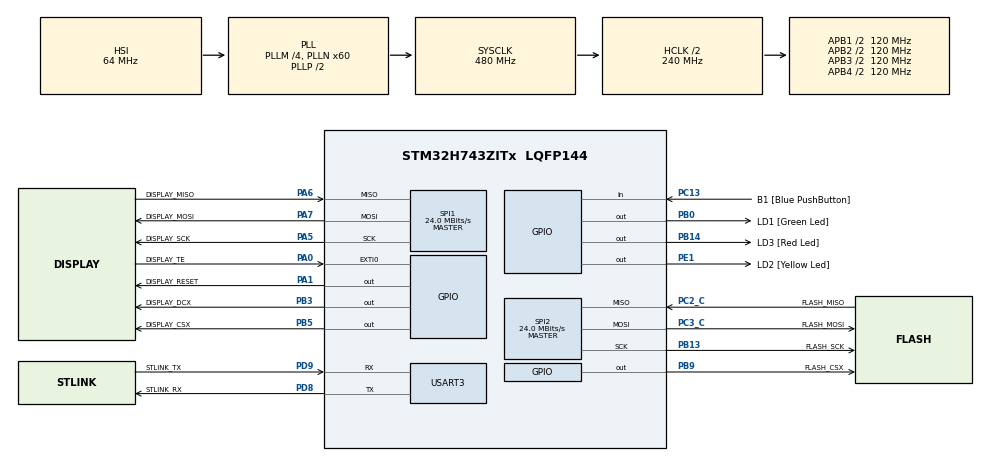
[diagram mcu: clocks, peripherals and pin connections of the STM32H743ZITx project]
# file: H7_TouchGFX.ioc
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Dma.Request0=SPI1_TX
Dma.Request1=SPI2_RX
Dma.Request2=SPI2_TX
Dma.SPI1_TX.0.Direction=DMA_MEMORY_TO_PERIPH
Dma.SPI1_TX.0.EventEnable=DISABLE
Dma.SPI1_TX.0.FIFOMode=DMA_FIFOMODE_DISABLE
Dma.SPI1_TX.0.Instance=DMA1_Stream0
Dma.SPI1_TX.0.MemDataAlignment=DMA_MDATAALIGN_HALFWORD
Dma.SPI1_TX.0.MemInc=DMA_MINC_ENABLE
Dma.SPI1_TX.0.Mode=DMA_NORMAL
Dma.SPI1_TX.0.PeriphDataAlignment=DMA_PDATAALIGN_HALFWORD
Dma.SPI1_TX.0.PeriphInc=DMA_PINC_DISABLE
Dma.SPI1_TX.0.Polarity=HAL_DMAMUX_REQ_GEN_RISING
Dma.SPI1_TX.0.Priority=DMA_PRIORITY_LOW
Dma.SPI1_TX.0.RequestNumber=1
Dma.SPI1_TX.0.SignalID=NONE
Dma.SPI1_TX.0.SyncEnable=DISABLE
Dma.SPI1_TX.0.SyncPolarity=HAL_DMAMUX_SYNC_NO_EVENT
Dma.SPI1_TX.0.SyncRequestNumber=1
Dma.SPI1_TX.0.SyncSignalID=NONE
Dma.SPI2_RX.1.Direction=DMA_PERIPH_TO_MEMORY
Dma.SPI2_RX.1.EventEnable=DISABLE
Dma.SPI2_RX.1.FIFOMode=DMA_FIFOMODE_DISABLE
Dma.SPI2_RX.1.Instance=DMA1_Stream1
Dma.SPI2_RX.1.MemDataAlignment=DMA_MDATAALIGN_BYTE
Dma.SPI2_RX.1.MemInc=DMA_MINC_ENABLE
Dma.SPI2_RX.1.Mode=DMA_NORMAL
Dma.SPI2_RX.1.PeriphDataAlignment=DMA_PDATAALIGN_BYTE
Dma.SPI2_RX.1.PeriphInc=DMA_PINC_DISABLE
Dma.SPI2_RX.1.Polarity=HAL_DMAMUX_REQ_GEN_RISING
Dma.SPI2_RX.1.Priority=DMA_PRIORITY_LOW
Dma.SPI2_RX.1.RequestNumber=1
Dma.SPI2_RX.1.SignalID=NONE
Dma.SPI2_RX.1.SyncEnable=DISABLE
Dma.SPI2_RX.1.SyncPolarity=HAL_DMAMUX_SYNC_NO_EVENT
Dma.SPI2_RX.1.SyncRequestNumber=1
Dma.SPI2_RX.1.SyncSignalID=NONE
Dma.SPI2_TX.2.Direction=DMA_MEMORY_TO_PERIPH
Dma.SPI2_TX.2.EventEnable=DISABLE
Dma.SPI2_TX.2.FIFOMode=DMA_FIFOMODE_DISABLE
Dma.SPI2_TX.2.Instance=DMA1_Stream2
Dma.SPI2_TX.2.MemDataAlignment=DMA_MDATAALIGN_BYTE
Dma.SPI2_TX.2.MemInc=DMA_MINC_ENABLE
Dma.SPI2_TX.2.Mode=DMA_NORMAL
Dma.SPI2_TX.2.PeriphDataAlignment=DMA_PDATAALIGN_BYTE
Dma.SPI2_TX.2.PeriphInc=DMA_PINC_DISABLE
Dma.SPI2_TX.2.Polarity=HAL_DMAMUX_REQ_GEN_RISING
Dma.SPI2_TX.2.Priority=DMA_PRIORITY_LOW
Dma.SPI2_TX.2.RequestNumber=1
Dma.SPI2_TX.2.SignalID=NONE
Dma.SPI2_TX.2.SyncEnable=DISABLE
Dma.SPI2_TX.2.SyncPolarity=HAL_DMAMUX_SYNC_NO_EVENT
Dma.SPI2_TX.2.SyncRequestNumber=1
Dma.SPI2_TX.2.SyncSignalID=NONE
Mcu.Family=STM32H7
Mcu.Name=STM32H743ZITx
Mcu.Package=LQFP144
NVIC.DMA1_Stream0_IRQn=true\:0\:0\:false\:false\:true\:false\:true\:true
NVIC.DMA1_Stream1_IRQn=true\:0\:0\:false\:false\:true\:false\:true\:true
NVIC.DMA1_Stream2_IRQn=true\:0\:0\:false\:false\:true\:false\:true\:true
NVIC.EXTI0_IRQn=true\:0\:0\:false\:false\:true\:true\:true\:true
NVIC.PriorityGroup=NVIC_PRIORITYGROUP_4
NVIC.SPI1_IRQn=true\:0\:0\:false\:false\:true\:true\:true\:true
NVIC.SPI2_IRQn=true\:0\:0\:false\:false\:true\:true\:true\:true
NVIC.TIM6_DAC_IRQn=true\:0\:0\:false\:false\:true\:true\:true\:true
PA0.GPIO_Label=DISPLAY_TE
PA0.Signal=GPXTI0
PA1.GPIO_Label=DISPLAY_RESET
PA1.GPIO_PuPd=GPIO_PULLUP
PA1.GPIO_Speed=GPIO_SPEED_FREQ_VERY_HIGH
PA1.Signal=GPIO_Output
PA13\ (JTMS/SWDIO).Mode=Serial_Wire
PA13\ (JTMS/SWDIO).Signal=DEBUG_JTMS-SWDIO
PA14\ (JTCK/SWCLK).Mode=Serial_Wire
PA14\ (JTCK/SWCLK).Signal=DEBUG_JTCK-SWCLK
PA5.GPIO_Label=DISPLAY_SCK
PA5.GPIO_PuPd=GPIO_PULLDOWN
PA5.GPIO_Speed=GPIO_SPEED_FREQ_VERY_HIGH
PA5.Mode=Full_Duplex_Master
PA5.Signal=SPI1_SCK
PA6.GPIO_Label=DISPLAY_MISO
PA6.GPIO_Speed=GPIO_SPEED_FREQ_VERY_HIGH
PA6.Mode=Full_Duplex_Master
PA6.Signal=SPI1_MISO
PA7.GPIO_Label=DISPLAY_MOSI
PA7.GPIO_Speed=GPIO_SPEED_FREQ_VERY_HIGH
PA7.Mode=Full_Duplex_Master
PA7.Signal=SPI1_MOSI
PB0.GPIO_Label=LD1 [Green Led]
PB0.GPIO_Speed=GPIO_SPEED_FREQ_VERY_HIGH
PB0.Signal=GPIO_Output
PB13.GPIO_Label=FLASH_SCK
PB13.GPIO_PuPd=GPIO_PULLDOWN
PB13.GPIO_Speed=GPIO_SPEED_FREQ_VERY_HIGH
PB13.Mode=Full_Duplex_Master
PB13.Signal=SPI2_SCK
PB14.GPIO_Label=LD3 [Red Led]
PB14.GPIO_Speed=GPIO_SPEED_FREQ_VERY_HIGH
PB14.Signal=GPIO_Output
PB3\ (JTDO/TRACESWO).GPIO_Label=DISPLAY_DCX
PB3\ (JTDO/TRACESWO).GPIO_PuPd=GPIO_PULLUP
PB3\ (JTDO/TRACESWO).GPIO_Speed=GPIO_SPEED_FREQ_VERY_HIGH
PB3\ (JTDO/TRACESWO).PinState=GPIO_PIN_SET
PB3\ (JTDO/TRACESWO).Signal=GPIO_Output
PB5.GPIO_Label=DISPLAY_CSX
PB5.GPIO_PuPd=GPIO_PULLUP
PB5.GPIO_Speed=GPIO_SPEED_FREQ_VERY_HIGH
PB5.PinState=GPIO_PIN_SET
PB5.Signal=GPIO_Output
PB9.GPIO_FM9=SYSCFG_PMCR_I2C_PB9_FMP
PB9.GPIO_Label=FLASH_CSX
PB9.GPIO_Speed=GPIO_SPEED_FREQ_VERY_HIGH
PB9.PinState=GPIO_PIN_SET
PB9.Signal=GPIO_Output
PC13.GPIO_Label=B1 [Blue PushButton]
PC13.Signal=GPIO_Input
PC14-OSC32_IN\ (OSC32_IN).Mode=LSE-External-Oscillator
PC14-OSC32_IN\ (OSC32_IN).Signal=RCC_OSC32_IN
PC15-OSC32_OUT\ (OSC32_OUT).Mode=LSE-External-Oscillator
PC15-OSC32_OUT\ (OSC32_OUT).Signal=RCC_OSC32_OUT
PC2_C.GPIO_Label=FLASH_MISO
PC2_C.GPIO_PuPd=GPIO_PULLDOWN
PC2_C.GPIO_Speed=GPIO_SPEED_FREQ_VERY_HIGH
PC2_C.Mode=Full_Duplex_Master
PC2_C.Signal=SPI2_MISO
PC3_C.GPIO_Label=FLASH_MOSI
PC3_C.GPIO_PuPd=GPIO_PULLDOWN
PC3_C.GPIO_Speed=GPIO_SPEED_FREQ_VERY_HIGH
PC3_C.Mode=Full_Duplex_Master
PC3_C.Signal=SPI2_MOSI
PD8.GPIO_Label=STLINK_RX
PD8.Mode=Asynchronous
PD8.Signal=USART3_TX
PD9.GPIO_Label=STLINK_TX
PD9.Mode=Asynchronous
PD9.Signal=USART3_RX
PE1.GPIO_Label=LD2 [Yellow Led]
PE1.GPIO_Speed=GPIO_SPEED_FREQ_VERY_HIGH
PE1.Signal=GPIO_Output
PH0-OSC_IN\ (PH0).Mode=HSE-External-Clock-Source
PH0-OSC_IN\ (PH0).Signal=RCC_OSC_IN
PH1-OSC_OUT\ (PH1).Signal=RCC_OSC_OUT
ProjectManager.HeapSize=0x400
ProjectManager.StackSize=0x800
ProjectManager.TargetToolchain=STM32CubeIDE
RCC.ADCFreq_Value=129000000
RCC.APB1Freq_Value=120000000
RCC.APB2Freq_Value=120000000
RCC.APB3Freq_Value=120000000
RCC.APB4Freq_Value=120000000
RCC.CortexFreq_Value=480000000
RCC.D1PPRE=RCC_APB3_DIV2
RCC.D2PPRE1=RCC_APB1_DIV2
RCC.D2PPRE2=RCC_APB2_DIV2
RCC.D3PPRE=RCC_APB4_DIV2
RCC.DIVM1=4
RCC.DIVN1=60
RCC.DIVQ1=5
RCC.HCLKFreq_Value=240000000
RCC.HPRE=RCC_HCLK_DIV2
RCC.HSE_VALUE=8000000
RCC.PLL2FRACN=0
RCC.PLL3FRACN=0
RCC.PLLFRACN=0
RCC.PWR_Regulator_Voltage_Scale=PWR_REGULATOR_VOLTAGE_SCALE0
RCC.ProductRev=revV
RCC.SYSCLKFreq_VALUE=480000000
RCC.SYSCLKSource=RCC_SYSCLKSOURCE_PLLCLK
RCC.USBFreq_Value=192000000
SPI1.BaudRatePrescaler=SPI_BAUDRATEPRESCALER_8
SPI1.CalculateBaudRate=24.0 MBits/s
SPI1.DataSize=SPI_DATASIZE_8BIT
SPI1.Direction=SPI_DIRECTION_2LINES
SPI1.Mode=SPI_MODE_MASTER
SPI1.NSSPMode=SPI_NSS_PULSE_DISABLE
SPI1.VirtualType=VM_MASTER
SPI2.BaudRatePrescaler=SPI_BAUDRATEPRESCALER_8
SPI2.CalculateBaudRate=24.0 MBits/s
SPI2.DataSize=SPI_DATASIZE_8BIT
SPI2.Direction=SPI_DIRECTION_2LINES
SPI2.Mode=SPI_MODE_MASTER
SPI2.NSSPMode=SPI_NSS_PULSE_DISABLE
SPI2.VirtualType=VM_MASTER
STMicroelectronics.X-CUBE-TOUCHGFX.4.20.0.tgfx_buffering_strategy=Partial
STMicroelectronics.X-CUBE-TOUCHGFX.4.20.0.tgfx_custom_height=320
STMicroelectronics.X-CUBE-TOUCHGFX.4.20.0.tgfx_custom_width=240
STMicroelectronics.X-CUBE-TOUCHGFX.4.20.0.tgfx_datareader=Enabled
STMicroelectronics.X-CUBE-TOUCHGFX.4.20.0.tgfx_partialfb_transmit_strategy=Enabled
STMicroelectronics.X-CUBE-TOUCHGFX.4.20.0_IsPackSelfContextualization=true
TIM6.TIM_MasterOutputTrigger=TIM_TRGO_ENABLE
USART3.VirtualMode-Asynchronous=VM_ASYNC
VP_CRC_VS_CRC.Mode=CRC_Activate
VP_TIM6_VS_ClockSourceINT.Mode=Enable_Timer
board=NUCLEO-H743ZI2

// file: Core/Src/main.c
/* USER CODE BEGIN Header */
/**
  ******************************************************************************
  * @file           : main.c
  * @brief          : Main program body
  ******************************************************************************
  * @attention
  *
  * Copyright (c) 2022 STMicroelectronics.
  * All rights reserved.
  *
  * This software is licensed under terms that can be found in the LICENSE file
  * in the root directory of this software component.
  * If no LICENSE file comes with this software, it is provided AS-IS.
  *
  ******************************************************************************
  */
/* USER CODE END Header */
#include "main.h"
#include "crc.h"
#include "dma.h"
#include "spi.h"
#include "tim.h"
#include "usart.h"
#include "gpio.h"

/* USER CODE BEGIN Includes */
#include "stdio.h"
#include "string.h"
#include "MB1642BDisplayDriver.h"

#include "stdlib.h"
/* USER CODE END Includes */

/* USER CODE BEGIN PD */
#define PUTCHAR_PRINTF	int __io_putchar(int ch)
/* USER CODE END PD */

void SystemClock_Config(void);

int main(void)
{

  /* MCU Configuration--------------------------------------------------------*/

  /* Reset of all peripherals, Initializes the Flash interface and the Systick. */
  HAL_Init();

  /* Configure the system clock */
  SystemClock_Config();

  /* Initialize all configured peripherals */
  MX_GPIO_Init();
  MX_SPI1_Init();
  MX_SPI2_Init();
  MX_USART3_UART_Init();
  MX_CRC_Init();
  MX_DMA_Init();
  MX_TIM6_Init();
  /* USER CODE BEGIN 2 */
  printf_log("------TouchGFX Workshop------", LOG_INFO);
  printf_log("-----------------------------", LOG_WARN);
  printf_log("Initializing Display Driver...", LOG_INFO);

  MB1642BDisplayDriver_Init();
  MB1642BDisplayDriver_DisplayReset();
  MB1642BDisplayDriver_DisplayInit();
  MB1642BDisplayDriver_DisplayOn();
  test();
  /* USER CODE END 2 */

  /* Infinite loop */
  while (1)
  {

  }
}

void SystemClock_Config(void)
{
  RCC_OscInitTypeDef RCC_OscInitStruct = {0};
  RCC_ClkInitTypeDef RCC_ClkInitStruct = {0};

  /** Supply configuration update enable
  */
  HAL_PWREx_ConfigSupply(PWR_LDO_SUPPLY);

  /** Configure the main internal regulator output voltage
  */
  __HAL_PWR_VOLTAGESCALING_CONFIG(PWR_REGULATOR_VOLTAGE_SCALE1);

  while(!__HAL_PWR_GET_FLAG(PWR_FLAG_VOSRDY)) {}

  __HAL_RCC_SYSCFG_CLK_ENABLE();
  __HAL_PWR_VOLTAGESCALING_CONFIG(PWR_REGULATOR_VOLTAGE_SCALE0);

  while(!__HAL_PWR_GET_FLAG(PWR_FLAG_VOSRDY)) {}

  /** Initializes the RCC Oscillators according to the specified parameters
  * in the RCC_OscInitTypeDef structure.
  */
  RCC_OscInitStruct.OscillatorType = RCC_OSCILLATORTYPE_HSI;
  RCC_OscInitStruct.HSIState = RCC_HSI_DIV1;
  RCC_OscInitStruct.HSICalibrationValue = RCC_HSICALIBRATION_DEFAULT;
  RCC_OscInitStruct.PLL.PLLState = RCC_PLL_ON;
  RCC_OscInitStruct.PLL.PLLSource = RCC_PLLSOURCE_HSI;
  RCC_OscInitStruct.PLL.PLLM = 4;
  RCC_OscInitStruct.PLL.PLLN = 60;
  RCC_OscInitStruct.PLL.PLLP = 2;
  RCC_OscInitStruct.PLL.PLLQ = 5;
  RCC_OscInitStruct.PLL.PLLR = 2;
  RCC_OscInitStruct.PLL.PLLRGE = RCC_PLL1VCIRANGE_3;
  RCC_OscInitStruct.PLL.PLLVCOSEL = RCC_PLL1VCOWIDE;
  RCC_OscInitStruct.PLL.PLLFRACN = 0;
  if (HAL_RCC_OscConfig(&RCC_OscInitStruct) != HAL_OK)
  {
    Error_Handler();
  }

  /** Initializes the CPU, AHB and APB buses clocks
  */
  RCC_ClkInitStruct.ClockType = RCC_CLOCKTYPE_HCLK|RCC_CLOCKTYPE_SYSCLK
                              |RCC_CLOCKTYPE_PCLK1|RCC_CLOCKTYPE_PCLK2
                              |RCC_CLOCKTYPE_D3PCLK1|RCC_CLOCKTYPE_D1PCLK1;
  RCC_ClkInitStruct.SYSCLKSource = RCC_SYSCLKSOURCE_PLLCLK;
  RCC_ClkInitStruct.SYSCLKDivider = RCC_SYSCLK_DIV1;
  RCC_ClkInitStruct.AHBCLKDivider = RCC_HCLK_DIV2;
  RCC_ClkInitStruct.APB3CLKDivider = RCC_APB3_DIV2;
  RCC_ClkInitStruct.APB1CLKDivider = RCC_APB1_DIV2;
  RCC_ClkInitStruct.APB2CLKDivider = RCC_APB2_DIV2;
  RCC_ClkInitStruct.APB4CLKDivider = RCC_APB4_DIV2;

  if (HAL_RCC_ClockConfig(&RCC_ClkInitStruct, FLASH_LATENCY_4) != HAL_OK)
  {
    Error_Handler();
  }
}

/* USER CODE BEGIN 4 */
PUTCHAR_PRINTF
{
	HAL_UART_Transmit(&huart3, (uint8_t *)&ch, 1, 0xFFFF);
	return ch;
}

/**
 * @brief: printf_log
 */
void printf_log(char* data, log_type_t logName)
{
	printf("\033[0m");
	switch(logName) {
	case LOG_INFO:
		printf("\033[1;33m");
		printf("Info\t:%s\n", data);
		break;
	case LOG_WARN:
		printf("\033[1;32m");
		printf("Warning\t:%s\n", data);
		break;
	case LOG_ERROR:
		printf("\033[1;31m");
		printf("Error\t:%s\n", data);
		break;
	}
}

/* USER CODE END 4 */

void Error_Handler(void)
{
  __disable_irq();
  while (1)
  {
  }
}
